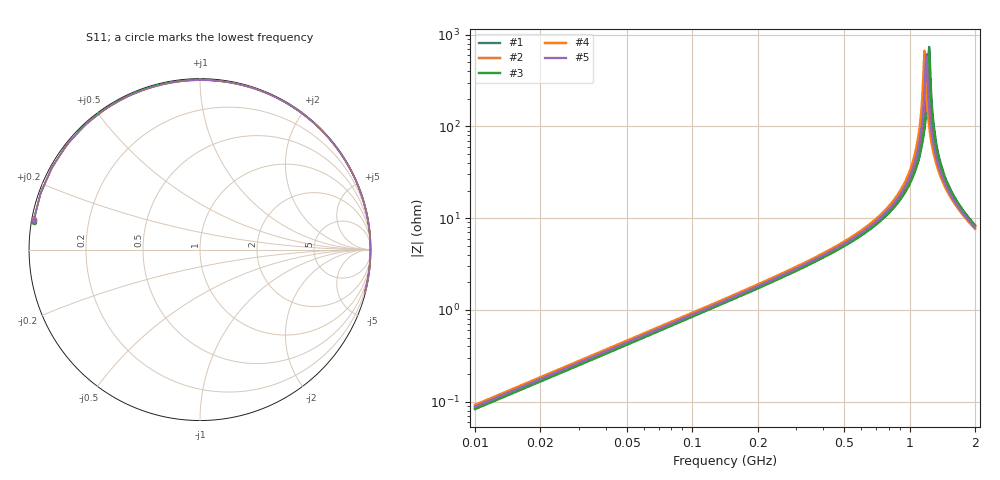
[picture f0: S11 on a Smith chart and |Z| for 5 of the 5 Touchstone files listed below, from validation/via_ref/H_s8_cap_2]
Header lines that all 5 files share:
! H_s8_cap_2: PDN loop: BGA pin field to a 0402 capacitor 2 mm away
! stackup: 8-layer 1.6 mm FR-4 (generic)
! ports: 1 IC pins
# Hz S RI R 1
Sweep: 10 MHz to 2 GHz
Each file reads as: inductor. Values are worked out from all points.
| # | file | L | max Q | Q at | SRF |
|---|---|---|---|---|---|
| 1 | cst.s1p | 1.35 nH | 220 | 270 MHz | 1.23 GHz |
| 2 | cst_fine.s1p | 1.4 nH | 212 | 160 MHz | 1.2 GHz |
| 3 | kisi.s1p | 1.32 nH | 312 | 200 MHz | 1.22 GHz |
| 4 | openems.s1p | 1.47 nH | 172 | 230 MHz | 1.17 GHz |
| 5 | openems_base.s1p | 1.41 nH | 171 | 240 MHz | 1.19 GHz |
